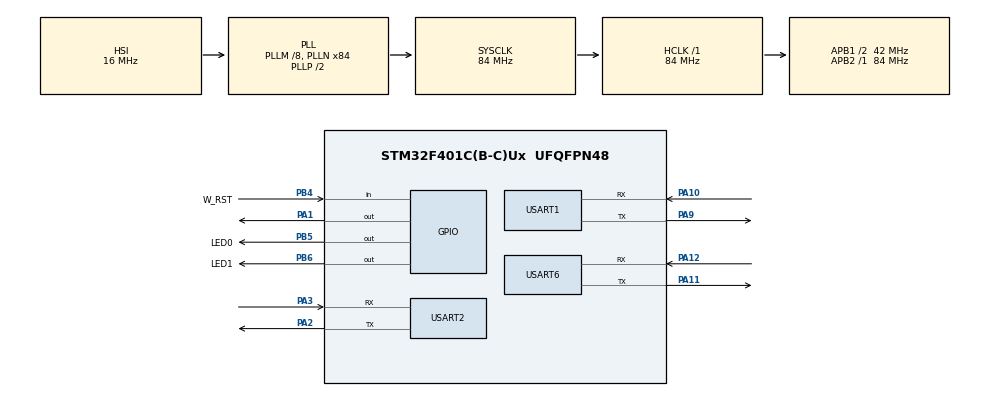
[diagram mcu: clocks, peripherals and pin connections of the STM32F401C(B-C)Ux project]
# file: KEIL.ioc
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Mcu.Family=STM32F4
Mcu.Name=STM32F401C(B-C)Ux
Mcu.Package=UFQFPN48
NVIC.PriorityGroup=NVIC_PRIORITYGROUP_4
NVIC.USART1_IRQn=true\:0\:0\:false\:false\:true\:true\:true
NVIC.USART2_IRQn=true\:0\:0\:false\:false\:true\:true\:true
NVIC.USART6_IRQn=true\:0\:0\:false\:false\:true\:true\:true
PA1.Signal=GPIO_Output
PA10.Mode=Asynchronous
PA10.Signal=USART1_RX
PA11.Mode=Asynchronous
PA11.Signal=USART6_TX
PA12.Mode=Asynchronous
PA12.Signal=USART6_RX
PA13.Mode=Trace_Asynchronous_SW
PA13.Signal=SYS_JTMS-SWDIO
PA14.Mode=Trace_Asynchronous_SW
PA14.Signal=SYS_JTCK-SWCLK
PA2.Mode=Asynchronous
PA2.Signal=USART2_TX
PA3.Mode=Asynchronous
PA3.Signal=USART2_RX
PA9.Mode=Asynchronous
PA9.Signal=USART1_TX
PB3.Mode=Trace_Asynchronous_SW
PB3.Signal=SYS_JTDO-SWO
PB4.GPIO_Label=W_RST
PB4.Signal=GPIO_Input
PB5.GPIO_Label=LED0
PB5.Signal=GPIO_Output
PB6.GPIO_Label=LED1
PB6.Signal=GPIO_Output
PH0\ -\ OSC_IN.Mode=HSE-External-Oscillator
PH0\ -\ OSC_IN.Signal=RCC_OSC_IN
PH1\ -\ OSC_OUT.Mode=HSE-External-Oscillator
PH1\ -\ OSC_OUT.Signal=RCC_OSC_OUT
ProjectManager.HeapSize=0x200
ProjectManager.StackSize=0x400
ProjectManager.TargetToolchain=MDK-ARM V5.27
RCC.48MHZClocksFreq_Value=42000000
RCC.AHBFreq_Value=84000000
RCC.APB1CLKDivider=RCC_HCLK_DIV2
RCC.APB1Freq_Value=42000000
RCC.APB1TimFreq_Value=84000000
RCC.APB2Freq_Value=84000000
RCC.APB2TimFreq_Value=84000000
RCC.CortexFreq_Value=84000000
RCC.HCLKFreq_Value=84000000
RCC.HSE_VALUE=8000000
RCC.HSI_VALUE=16000000
RCC.LSE_VALUE=32768
RCC.PLLM=8
RCC.PLLN=84
RCC.SYSCLKFreq_VALUE=84000000
RCC.SYSCLKSource=RCC_SYSCLKSOURCE_PLLCLK
RCC.VCOOutputFreq_Value=168000000
USART1.VirtualMode=VM_ASYNC
USART2.VirtualMode=VM_ASYNC
USART6.VirtualMode=VM_ASYNC
board=custom

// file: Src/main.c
/* USER CODE BEGIN Header */
/**
  ******************************************************************************
  * @file           : main.c
  * @brief          : Main program body
  ******************************************************************************
  * @attention
  *
  * <h2><center>&copy; Copyright (c) 2020 STMicroelectronics.
  * All rights reserved.</center></h2>
  *
  * This software component is licensed by ST under BSD 3-Clause license,
  * the "License"; You may not use this file except in compliance with the
  * License. You may obtain a copy of the License at:
  *                        opensource.org/licenses/BSD-3-Clause
  *
  ******************************************************************************
  */
/* USER CODE END Header */
#include "main.h"

/* USER CODE BEGIN Includes */
#include "stdio.h"
#include "COM_Queue.h"
/* USER CODE END Includes */

UART_HandleTypeDef huart1;
UART_HandleTypeDef huart2;
UART_HandleTypeDef huart6;

/* USER CODE BEGIN PV */
COM_Buffer UART_1;
COM_Buffer UART_2;
COM_Buffer UART_6;
/* USER CODE END PV */

void SystemClock_Config(void);
static void MX_GPIO_Init(void);
static void MX_USART1_UART_Init(void);
static void MX_USART2_UART_Init(void);
static void MX_USART6_UART_Init(void);
/* USER CODE BEGIN PFP */

 #ifdef KEIL
      #ifdef __GNUC__
      //With GCC, small printf (option LD Linker->Libraries->Small printf
      //set to 'Yes') calls __io_putchar()
         #define PUTCHAR_PROTOTYPE int __io_putchar(int ch)
	  #else
		 #define PUTCHAR_PROTOTYPE int fputc(int ch, FILE *f)
	  #endif /* __GNUC__*/
    #if 1
    PUTCHAR_PROTOTYPE
    {
//	  HAL_UART_Transmit(&huart6, (uint8_t *)&ch, 1, 0xFFFF);
	  HAL_UART_Transmit(&huart1, (uint8_t *)&ch, 1, 0xFFFF);
      return ch;
    }

		int ferror(FILE *f)
	{
	  /* Your implementation of ferror(). */
	  return 0;
	}
    #endif
  #endif

  #ifdef True_STD
  int _write(int fd, char *str, int len)
  {
    for(int i=0; i<len; i++)
    {
      HAL_UART_Transmit(&huart1, (uint8_t *)&str[i], 1, 0xFFFF);
    }
    return len;
  }
 #endif

#define UART_RX_BUF_SIZE    1024
//volatile uint8_t data;
//volatile uint8_t data6;
uint8_t RxBuf1[UART_RX_BUF_SIZE];
uint8_t RxBuf2[UART_RX_BUF_SIZE];
volatile uint8_t uart_buffer[UART_RX_BUF_SIZE+1];
volatile int  uart_index=0;
 uint8_t *rxBuf;
  uint8_t test[4] = "TEST";
uint8_t flag_rx = 0;
uint8_t i= 0;

typedef struct
{
  uint8_t buffer[UART_RX_BUF_SIZE];
  uint8_t temp;
  uint8_t rxd;
  volatile uint16_t i_p;
  volatile uint16_t o_p;
} uart_rx_type;
uart_rx_type uart_hal_rx;
/* USER CODE END PFP */

/* USER CODE BEGIN 0 */
#if 0
void uart_hal_rx_buffer_init(void)
{
  uart_hal_rx.i_p = 0;
  uart_hal_rx.o_p =0;

}
#if 1
void HAL_UART_RxCpltCallback(UART_HandleTypeDef *huart){
	int size=0;
	if(huart->Instance == USART6){
	//	HAL_UART_Receive_IT(&huart1, (uint8_t*) &data, 2);
		uart_hal_rx.buffer[uart_hal_rx.i_p++] = uart_hal_rx.temp;

    if(uart_hal_rx.i_p >=UART_RX_BUF_SIZE)
    {
      uart_hal_rx.i_p=0;
    }
    HAL_UART_Receive_IT(&huart6,&uart_hal_rx.temp,1);
     //   uart_buffer[uart_index] = '\0';
		 if(uart_hal_rx.temp == '\n') {
			 size = uart_hal_rx.i_p - uart_hal_rx.o_p;
			 if(size <0)
				  size= UART_RX_BUF_SIZE-uart_hal_rx.i_p;
      //for(i = 0;i<size;i++){

      HAL_UART_Transmit_IT(&huart1, &uart_hal_rx.buffer[uart_hal_rx.o_p], size);
      uart_hal_rx.o_p+=size;
      if(uart_hal_rx.o_p >=UART_RX_BUF_SIZE)
      {
        uart_hal_rx.o_p=0;
      }

      // uart_hal_rx.o_p+size;
      // if(uart_hal_rx.o_p >=UART_RX_BUF_SIZE)
      // {
      //   uart_hal_rx.o_p-=UART_RX_BUF_SIZE;
      // }
    //  }
      uart_index = 0;

	 }
    HAL_GPIO_TogglePin(GPIOB,LED1_Pin);
	}

}
#else
void HAL_UART_RxCpltCallback(UART_HandleTypeDef *huart){
	flag_rx = 1;
	   if(huart->Instance == huart1.Instance){
			HAL_UART_Receive_IT(&huart1,rxBuf,5);
		    *rxBuf =0;
				HAL_GPIO_TogglePin(GPIOB,LED1_Pin);
	   }
}

#endif
#endif

/* USER CODE END 0 */

int main(void)
{
  /* USER CODE BEGIN 1 */
	 //char *test ="AT\r\n";
   int Rst_01 = 0;
   int Rst_02 = 0;
   int Rst_06 = 0;
   char *RT_Data_01 = NULL;
   char *RT_Data_02 = NULL;
   char *RT_Data_06 = NULL;
   char Temp = 0;
  /* USER CODE END 1 */

  /* MCU Configuration--------------------------------------------------------*/

  /* Reset of all peripherals, Initializes the Flash interface and the Systick. */
  HAL_Init();

  /* Configure the system clock */
  SystemClock_Config();

  /* Initialize all configured peripherals */
  MX_GPIO_Init();
  MX_USART1_UART_Init();
  MX_USART2_UART_Init();
  MX_USART6_UART_Init();
  /* USER CODE BEGIN 2 */
  HAL_GPIO_WritePin(W_RST_GPIO_Port,W_RST_Pin,0);
  HAL_Delay(1000);
  HAL_GPIO_WritePin(W_RST_GPIO_Port,W_RST_Pin,1);

  HAL_NVIC_EnableIRQ(USART1_IRQn);
  HAL_NVIC_EnableIRQ(USART6_IRQn);
  HAL_UART_Receive_IT(&huart1,&uart_hal_rx.temp,1);
  HAL_UART_Receive_IT(&huart6,&uart_hal_rx.temp,1);
  HAL_UART_Receive_IT(&huart2,&uart_hal_rx.temp,1);
  #if 0 //teddy 200918
  uart_hal_rx_buffer_init();
  printf("AT+GMR\r\n");
  HAL_Delay(1000);
  printf("AT+CWMODE_CUR=1\r\n");
  printf("AT+CIPMUX=0\r\n");
  HAL_Delay(1000);
  printf("AT+CWDHCP_CUR=1,1\r\n");
  HAL_Delay(1000);
  printf("AT+CWLAP\r\n");
  HAL_Delay(4000);
  printf("AT+CWJAP_CUR=\"Teddy_AP\",\"123456789\"\r\n");
  HAL_Delay(5000);
  printf("AT+CIPSTART=\"TCP\",\"192.168.0.9\",5000 \r\n");
  HAL_Delay(1000);
  #endif

//
//  HAL_UART_Transmit(&huart6, (uint8_t *)&test, 4, 0xFFFF);

  printf("-------------------------\r\n");
  printf("  Test Program \r\n");
  printf("-------------------------\r\n");
  HAL_GPIO_WritePin(GPIOA, GPIO_PIN_1, 0);
  /* USER CODE END 2 */

  /* Infinite loop */
  /* USER CODE BEGIN WHILE */

  while (1)
  {
    if(UART_1.flag ==1) // debug port
    {
      Rst_01 = COM_Find_Words(&UART_1, "\r", 1, &RT_Data_01);
      if(Rst_01 > 0)
      {
        UART_1.flag = 0;
        HAL_GPIO_WritePin(GPIOA, GPIO_PIN_1, GPIO_PIN_SET);
        HAL_Delay(100);
        HAL_UART_Transmit_IT(&huart2, RT_Data_01, Rst_01);
        HAL_UART_Transmit_IT(&huart1, RT_Data_01, Rst_01);
        HAL_Delay(100);
        free(RT_Data_01);
        RT_Data_01 = NULL;
        HAL_GPIO_WritePin(GPIOA, GPIO_PIN_1, GPIO_PIN_RESET);
      }
    }
    if(UART_2.flag ==1) //
    {
      #if 1
      while(COM_Buffer_Empty(&UART_2) != 1)
      {
        Temp = COM_Dequeue(&UART_2);
        HAL_UART_Transmit_IT(&huart1, &Temp, 1);
      }
      UART_2.flag = 0;
      #else
      Rst_02 = COM_Find_Words(&UART_2, "\r", 1, &RT_Data_02);
      if(Rst_02 > 0)
      {
        UART_2.flag = 0;
        HAL_UART_Transmit_IT(&huart1, RT_Data_02, Rst_02);
        free(RT_Data_02);
        RT_Data_02 = NULL;
      }
      #endif
    }
    if(UART_6.flag ==1) //wizfi360
    {
      //
    }
    /* USER CODE END WHILE */

  }
}

void SystemClock_Config(void)
{
  RCC_OscInitTypeDef RCC_OscInitStruct = {0};
  RCC_ClkInitTypeDef RCC_ClkInitStruct = {0};

  /** Configure the main internal regulator output voltage
  */
  __HAL_RCC_PWR_CLK_ENABLE();
  __HAL_PWR_VOLTAGESCALING_CONFIG(PWR_REGULATOR_VOLTAGE_SCALE2);
  /** Initializes the RCC Oscillators according to the specified parameters
  * in the RCC_OscInitTypeDef structure.
  */
  RCC_OscInitStruct.OscillatorType = RCC_OSCILLATORTYPE_HSI;
  RCC_OscInitStruct.HSIState = RCC_HSI_ON;
  RCC_OscInitStruct.HSICalibrationValue = RCC_HSICALIBRATION_DEFAULT;
  RCC_OscInitStruct.PLL.PLLState = RCC_PLL_ON;
  RCC_OscInitStruct.PLL.PLLSource = RCC_PLLSOURCE_HSI;
  RCC_OscInitStruct.PLL.PLLM = 8;
  RCC_OscInitStruct.PLL.PLLN = 84;
  RCC_OscInitStruct.PLL.PLLP = RCC_PLLP_DIV2;
  RCC_OscInitStruct.PLL.PLLQ = 4;
  if (HAL_RCC_OscConfig(&RCC_OscInitStruct) != HAL_OK)
  {
    Error_Handler();
  }
  /** Initializes the CPU, AHB and APB buses clocks
  */
  RCC_ClkInitStruct.ClockType = RCC_CLOCKTYPE_HCLK|RCC_CLOCKTYPE_SYSCLK
                              |RCC_CLOCKTYPE_PCLK1|RCC_CLOCKTYPE_PCLK2;
  RCC_ClkInitStruct.SYSCLKSource = RCC_SYSCLKSOURCE_PLLCLK;
  RCC_ClkInitStruct.AHBCLKDivider = RCC_SYSCLK_DIV1;
  RCC_ClkInitStruct.APB1CLKDivider = RCC_HCLK_DIV2;
  RCC_ClkInitStruct.APB2CLKDivider = RCC_HCLK_DIV1;

  if (HAL_RCC_ClockConfig(&RCC_ClkInitStruct, FLASH_LATENCY_2) != HAL_OK)
  {
    Error_Handler();
  }
}

static void MX_USART1_UART_Init(void)
{

  huart1.Instance = USART1;
  huart1.Init.BaudRate = 115200;
  huart1.Init.WordLength = UART_WORDLENGTH_8B;
  huart1.Init.StopBits = UART_STOPBITS_1;
  huart1.Init.Parity = UART_PARITY_NONE;
  huart1.Init.Mode = UART_MODE_TX_RX;
  huart1.Init.HwFlowCtl = UART_HWCONTROL_NONE;
  huart1.Init.OverSampling = UART_OVERSAMPLING_16;
  if (HAL_UART_Init(&huart1) != HAL_OK)
  {
    Error_Handler();
  }

}

static void MX_USART2_UART_Init(void)
{

  huart2.Instance = USART2;
  huart2.Init.BaudRate = 115200;
  huart2.Init.WordLength = UART_WORDLENGTH_8B;
  huart2.Init.StopBits = UART_STOPBITS_1;
  huart2.Init.Parity = UART_PARITY_NONE;
  huart2.Init.Mode = UART_MODE_TX_RX;
  huart2.Init.HwFlowCtl = UART_HWCONTROL_NONE;
  huart2.Init.OverSampling = UART_OVERSAMPLING_16;
  if (HAL_UART_Init(&huart2) != HAL_OK)
  {
    Error_Handler();
  }

}

static void MX_USART6_UART_Init(void)
{

  huart6.Instance = USART6;
  huart6.Init.BaudRate = 115200;
  huart6.Init.WordLength = UART_WORDLENGTH_8B;
  huart6.Init.StopBits = UART_STOPBITS_1;
  huart6.Init.Parity = UART_PARITY_NONE;
  huart6.Init.Mode = UART_MODE_TX_RX;
  huart6.Init.HwFlowCtl = UART_HWCONTROL_NONE;
  huart6.Init.OverSampling = UART_OVERSAMPLING_16;
  if (HAL_UART_Init(&huart6) != HAL_OK)
  {
    Error_Handler();
  }

}

static void MX_GPIO_Init(void)
{
  GPIO_InitTypeDef GPIO_InitStruct = {0};

  /* GPIO Ports Clock Enable */
  __HAL_RCC_GPIOH_CLK_ENABLE();
  __HAL_RCC_GPIOA_CLK_ENABLE();
  __HAL_RCC_GPIOB_CLK_ENABLE();

  /*Configure GPIO pin Output Level */
  HAL_GPIO_WritePin(GPIOA, GPIO_PIN_1, GPIO_PIN_RESET);

  /*Configure GPIO pin Output Level */
  HAL_GPIO_WritePin(GPIOB, LED0_Pin|LED1_Pin, GPIO_PIN_RESET);

  /*Configure GPIO pin : PA1 */
  GPIO_InitStruct.Pin = GPIO_PIN_1;
  GPIO_InitStruct.Mode = GPIO_MODE_OUTPUT_PP;
  GPIO_InitStruct.Pull = GPIO_NOPULL;
  GPIO_InitStruct.Speed = GPIO_SPEED_FREQ_LOW;
  HAL_GPIO_Init(GPIOA, &GPIO_InitStruct);

  /*Configure GPIO pin : W_RST_Pin */
  GPIO_InitStruct.Pin = W_RST_Pin;
  GPIO_InitStruct.Mode = GPIO_MODE_INPUT;
  GPIO_InitStruct.Pull = GPIO_NOPULL;
  HAL_GPIO_Init(W_RST_GPIO_Port, &GPIO_InitStruct);

  /*Configure GPIO pins : LED0_Pin LED1_Pin */
  GPIO_InitStruct.Pin = LED0_Pin|LED1_Pin;
  GPIO_InitStruct.Mode = GPIO_MODE_OUTPUT_PP;
  GPIO_InitStruct.Pull = GPIO_NOPULL;
  GPIO_InitStruct.Speed = GPIO_SPEED_FREQ_LOW;
  HAL_GPIO_Init(GPIOB, &GPIO_InitStruct);

}

/* USER CODE BEGIN 4 */
void UART1_enqueue(char data)
{
	COM_Enqueue(&UART_1, data);
}
void UART2_enqueue(char data)
{
	COM_Enqueue(&UART_2, data);
}
void UART6_enqueue(char data)
{
	COM_Enqueue(&UART_6, data);
}
/* USER CODE END 4 */

void Error_Handler(void)
{
}

/************************ (C) COPYRIGHT STMicroelectronics *****END OF FILE****/
